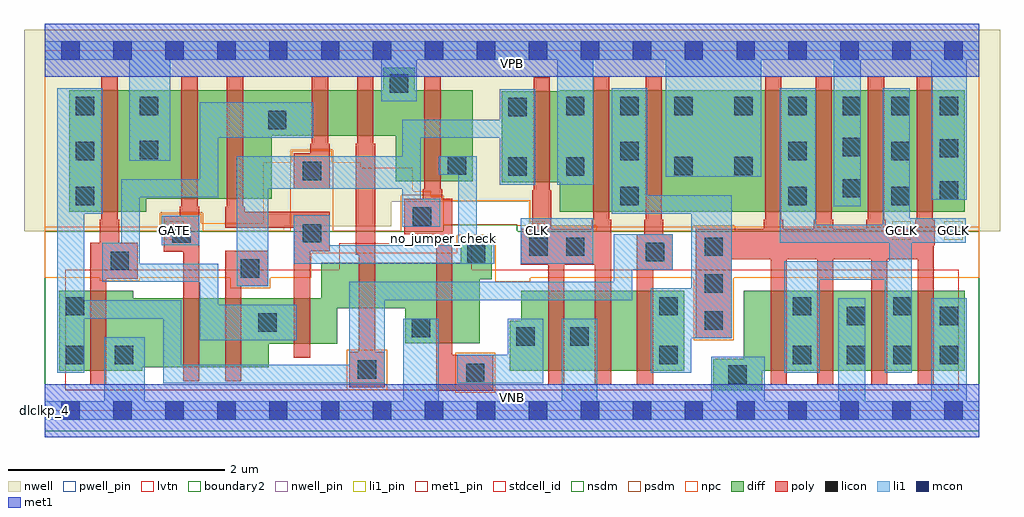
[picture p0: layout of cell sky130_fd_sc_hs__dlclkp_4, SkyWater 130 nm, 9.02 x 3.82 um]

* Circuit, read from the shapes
.subckt sky130_fd_sc_hs__dlclkp_4 CLK GATE GCLK VGND VNB VPB VPWR
XM1 VGND n1 n2 VNB sky130_fd_pr__nfet_01v8_lvt w=0.74 l=0.15
XM2 n3 GATE VGND VNB sky130_fd_pr__nfet_01v8_lvt w=0.64 l=0.15
XM3 n1 n4 n3 VNB sky130_fd_pr__nfet_01v8_lvt w=0.64 l=0.15
XM4 n5 n6 n1 VNB sky130_fd_pr__nfet_01v8_lvt w=0.42 l=0.15
XM5 VGND n2 n5 VNB sky130_fd_pr__nfet_01v8_lvt w=0.42 l=0.15
XM6 n6 n4 VGND VNB sky130_fd_pr__nfet_01v8_lvt w=0.74 l=0.15
XM7 VGND CLK n4 VNB sky130_fd_pr__nfet_01v8_lvt w=0.74 l=0.15
XM8 n7 CLK VGND VNB sky130_fd_pr__nfet_01v8_lvt w=0.74 l=0.15
XM9 n8 n2 n7 VNB sky130_fd_pr__nfet_01v8_lvt w=0.74 l=0.15
XM10 GCLK n8 VGND VNB sky130_fd_pr__nfet_01v8_lvt w=0.74 l=0.15 m=4
XM11 VPWR n1 n2 VPB sky130_fd_pr__pfet_01v8 w=1.12 l=0.15
XM12 n9 GATE VPWR VPB sky130_fd_pr__pfet_01v8 w=1 l=0.15
XM13 n1 n6 n9 VPB sky130_fd_pr__pfet_01v8 w=1 l=0.15
XM14 n10 n4 n1 VPB sky130_fd_pr__pfet_01v8 w=0.42 l=0.15
XM15 VPWR n2 n10 VPB sky130_fd_pr__pfet_01v8 w=0.42 l=0.15
XM16 n6 n4 VPWR VPB sky130_fd_pr__pfet_01v8 w=0.84 l=0.15
XM17 VPWR CLK n4 VPB sky130_fd_pr__pfet_01v8 w=0.84 l=0.15
XM18 n8 CLK VPWR VPB sky130_fd_pr__pfet_01v8 w=1.12 l=0.15
XM19 VPWR n2 n8 VPB sky130_fd_pr__pfet_01v8 w=1.12 l=0.15
XM20 GCLK n8 VPWR VPB sky130_fd_pr__pfet_01v8 w=1.12 l=0.15 m=4
.ends

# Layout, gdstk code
import gdstk
lib = gdstk.Library(unit=1e-6, precision=1e-09)
def R(c, l, rs):  # rectangles x0, y0, x1, y1
    for r in rs: c.add(gdstk.rectangle(r[:2], r[2:], *l))
def A(c, l, x, y, w, h, nx, ny, dx, dy):  # array of equal rectangles
    R(c, l, [(x+i*dx, y+j*dy, x+i*dx+w, y+j*dy+h) for i in range(nx) for j in range(ny)])
def P(c, l, *ps):  # polygons
    for p in ps: c.add(gdstk.Polygon(p, *l))
nwell_pin = (64, 16)
nwell = (64, 20)
diff = (65, 20)
poly = (66, 20)
licon = (66, 44)
li1_pin = (67, 16)
li1 = (67, 20)
mcon = (67, 44)
met1_pin = (68, 16)
met1 = (68, 20)
stdcell_id = (81, 4)
nsdm = (93, 44)
psdm = (94, 20)
npc = (95, 20)
pwell_pin = (122, 16)
lvtn = (125, 44)
boundary2 = (236, 0)

sky130_fd_sc_hs__dlclkp_ = lib.new_cell('sky130_fd_sc_hs__dlclkp_4')
R(sky130_fd_sc_hs__dlclkp_, nwell_pin, [(0,3.085,8.64,3.33)])
P(sky130_fd_sc_hs__dlclkp_, nwell, [(8.83,3.52),(-0.19,3.52),(-0.19,1.66),(2.215,1.66),(2.215,1.705),(3.205,1.705),(3.205,1.93),(4.475,1.93),(4.475,1.66),(8.83,1.66)])
P(sky130_fd_sc_hs__dlclkp_, diff, [(3.955,2.96),(3.42,2.96),(3.42,3.17),(3.13,3.17),(3.13,2.96),(0.23,2.96),(0.23,1.84),(0.94,1.84),(0.94,1.96),(2.1,1.96),(2.1,2.54),(3.245,2.54),(3.245,2.12),(3.955,2.12)],
  [(4.135,1.59),(3.845,1.59),(3.845,1.365),(2.555,1.365),(2.555,1.04),(0.82,1.04),(0.82,1.11),(0.135,1.11),(0.135,0.37),(0.905,0.37),(0.905,0.4),(2.07,0.4),(2.07,0.62),(2.705,0.62),(2.705,0.945),(3.335,0.945),(3.335,0.625),(4.02,0.625),(4.02,1.215),(4.135,1.215)],
  [(5.91,1.11),(4.405,1.11),(4.405,0.83),(4.3,0.83),(4.3,0.37),(5.91,0.37)],
  [(8.505,2.96),(4.76,2.96),(4.76,2.95),(4.225,2.95),(4.225,2.11),(4.76,2.11),(4.76,1.84),(8.505,1.84)],
  [(8.505,1.11),(6.46,1.11),(6.46,0.48),(6.18,0.48),(6.18,0.19),(6.635,0.19),(6.635,0.37),(8.505,0.37)])
P(sky130_fd_sc_hs__dlclkp_, poly, [(2.065,1.48),(1.67,1.48),(1.67,0.27),(1.82,0.27),(1.82,1.15),(2.065,1.15)],
  [(2.635,2.465),(2.62,2.465),(2.62,3.09),(2.47,3.09),(2.47,2.465),(2.455,2.465),(2.455,2.38),(2.305,2.38),(2.305,2.05),(2.635,2.05)],
  [(2.635,1.84),(1.85,1.84),(1.85,1.885),(1.835,1.885),(1.835,3.09),(1.685,3.09),(1.685,1.885),(1.67,1.885),(1.67,1.69),(2.305,1.69),(2.305,0.49),(2.455,0.49),(2.455,1.475),(2.635,1.475)],
  [(3.145,0.545),(3.055,0.545),(3.055,2.465),(3.04,2.465),(3.04,3.09),(2.89,3.09),(2.89,2.465),(2.875,2.465),(2.875,1.44),(2.905,1.44),(2.905,0.545),(2.815,0.545),(2.815,0.215),(3.145,0.215)],
  [(4.145,0.515),(3.77,0.515),(3.77,1.96),(3.675,1.96),(3.675,2.045),(3.66,2.045),(3.66,3.09),(3.51,3.09),(3.51,2.045),(3.495,2.045),(3.495,1.96),(3.325,1.96),(3.325,1.63),(3.62,1.63),(3.62,0.185),(4.145,0.185)],
  [(5.235,1.765),(5.22,1.765),(5.22,3.09),(5.07,3.09),(5.07,1.765),(5.055,1.765),(5.055,1.68),(4.685,1.68),(4.685,2.035),(4.67,2.035),(4.67,3.08),(4.52,3.08),(4.52,2.035),(4.505,2.035),(4.505,1.68),(4.4,1.68),(4.4,1.35),(4.655,1.35),(4.655,0.24),(4.805,0.24),(4.805,1.35),(5.085,1.35),(5.085,0.24),(5.235,0.24)],
  [(5.805,1.63),(5.72,1.63),(5.72,1.765),(5.705,1.765),(5.705,3.09),(5.555,3.09),(5.555,1.765),(5.54,1.765),(5.54,1.63),(5.475,1.63),(5.475,0.24),(5.625,0.24),(5.625,1.3),(5.805,1.3)],
  [(8.225,1.765),(8.21,1.765),(8.21,3.09),(8.06,3.09),(8.06,1.765),(8.045,1.765),(8.045,1.68),(7.775,1.68),(7.775,1.765),(7.76,1.765),(7.76,3.09),(7.61,3.09),(7.61,1.765),(7.595,1.765),(7.595,1.68),(7.29,1.68),(7.29,1.765),(7.275,1.765),(7.275,3.09),(7.125,3.09),(7.125,1.765),(7.11,1.765),(7.11,1.68),(6.825,1.68),(6.825,1.765),(6.81,1.765),(6.81,3.09),(6.66,3.09),(6.66,1.765),(6.645,1.765),(6.645,1.68),(6.02,1.68),(6.02,0.67),(6.35,0.67),(6.35,1.4),(6.71,1.4),(6.71,0.24),(6.86,0.24),(6.86,1.4),(7.14,1.4),(7.14,0.24),(7.29,0.24),(7.29,1.4),(7.64,1.4),(7.64,0.24),(7.79,0.24),(7.79,1.4),(8.07,1.4),(8.07,0.24),(8.22,0.24),(8.22,1.53),(8.225,1.53)],
  [(0.86,1.55),(0.69,1.55),(0.69,1.765),(0.675,1.765),(0.675,3.09),(0.525,3.09),(0.525,1.765),(0.51,1.765),(0.51,1.55),(0.42,1.55),(0.42,0.24),(0.57,0.24),(0.57,1.22),(0.86,1.22)],
  [(1.43,1.885),(1.415,1.885),(1.415,3.09),(1.265,3.09),(1.265,1.885),(1.25,1.885),(1.25,1.8),(1.1,1.8),(1.1,1.47),(1.28,1.47),(1.28,0.27),(1.43,0.27)])
A(sky130_fd_sc_hs__dlclkp_, licon, 7.415, 0.43, 0.17, 0.17, 3, 1, 0.43, 0)
A(sky130_fd_sc_hs__dlclkp_, licon, 6.1, 0.75, 0.17, 0.17, 1, 3, 0, 0.34)
A(sky130_fd_sc_hs__dlclkp_, licon, 0.29, 1.9, 0.17, 0.17, 1, 3, 0, 0.415)
A(sky130_fd_sc_hs__dlclkp_, licon, 7.825, 1.9, 0.17, 0.17, 1, 3, 0, 0.415)
A(sky130_fd_sc_hs__dlclkp_, licon, 8.275, 1.95, 0.17, 0.17, 1, 3, 0, 0.39)
A(sky130_fd_sc_hs__dlclkp_, licon, 4.82, 2.73, 0.17, 0.17, 3, 1, 0.5, 0)
A(sky130_fd_sc_hs__dlclkp_, licon, 6.375, 2.73, 0.17, 0.17, 3, 1, 0.5, 0)
R(sky130_fd_sc_hs__dlclkp_, licon, [(6.32,0.25,6.49,0.42), (3.895,0.265,4.065,0.435), (2.895,0.295,3.065,0.465), (0.195,0.43,0.365,0.6), (0.65,0.43,0.82,0.6), (5.68,0.43,5.85,0.6), (6.915,0.43,7.085,0.6), (4.36,0.6,4.53,0.77), (4.86,0.6,5.03,0.77), (3.395,0.68,3.565,0.85), (1.975,0.73,2.145,0.9), (7.415,0.79,7.585,0.96), (8.275,0.79,8.445,0.96), (0.195,0.88,0.365,1.05), (5.68,0.88,5.85,1.05), (6.915,0.88,7.085,1.05), (7.845,0.88,8.015,1.05), (1.815,1.23,1.985,1.4), (0.61,1.3,0.78,1.47), (3.905,1.36,4.075,1.53), (5.555,1.38,5.725,1.55), (4.48,1.43,4.65,1.6), (4.82,1.43,4.99,1.6), (1.18,1.55,1.35,1.72), (2.385,1.555,2.555,1.725), (3.405,1.71,3.575,1.88), (5.32,1.9,5.49,2.07), (6.875,1.9,7.045,2.07), (7.375,1.97,7.545,2.14), (2.385,2.13,2.555,2.3), (4.285,2.17,4.455,2.34), (4.82,2.17,4.99,2.34), (5.82,2.175,5.99,2.345), (6.375,2.175,6.545,2.345), (3.725,2.18,3.895,2.35), (5.32,2.315,5.49,2.485), (6.875,2.315,7.045,2.485), (0.88,2.325,1.05,2.495), (7.375,2.35,7.545,2.52), (2.065,2.6,2.235,2.77), (4.285,2.72,4.455,2.89), (0.88,2.73,1.05,2.9), (3.19,2.94,3.36,3.11)])
A(sky130_fd_sc_hs__dlclkp_, li1_pin, 1.115, 1.58, 0.17, 0.17, 3, 1, 3.36, 0)
R(sky130_fd_sc_hs__dlclkp_, li1_pin, [(8.315,1.58,8.485,1.75)])
R(sky130_fd_sc_hs__dlclkp_, li1, [(4.4,1.36,5.07,1.78), (1.085,1.53,1.43,1.8)])
P(sky130_fd_sc_hs__dlclkp_, li1, [(0.785,2.31),(0.785,3.245),(0,3.245),(0,3.415),(8.64,3.415),(8.64,3.245),(8.525,3.245),(8.525,1.95),(8.195,1.95),(8.195,3.245),(7.545,3.245),(7.545,1.89),(7.295,1.89),(7.295,3.245),(6.625,3.245),(6.625,2.16),(5.74,2.16),(5.74,3.245),(5.07,3.245),(5.07,2.09),(4.74,2.09),(4.74,3.245),(3.44,3.245),(3.44,2.86),(3.11,2.86),(3.11,3.245),(1.16,3.245),(1.16,2.31)],
  [(0.55,0.085),(0.55,0.68),(0.925,0.68),(0.925,0.085),(3.315,0.085),(3.315,0.85),(3.645,0.85),(3.645,0.085),(4.78,0.085),(4.78,0.85),(5.11,0.85),(5.11,0.085),(6.16,0.085),(6.16,0.5),(6.655,0.5),(6.655,0.085),(7.335,0.085),(7.335,1.04),(7.585,1.04),(7.585,0.085),(8.195,0.085),(8.195,1.04),(8.525,1.04),(8.525,0.085),(8.64,0.085),(8.64,-0.085),(0,-0.085),(0,0.085)],
  [(0.88,1.36),(1.605,1.36),(1.605,0.98),(2.33,0.98),(2.33,0.65),(1.435,0.65),(1.435,1.19),(0.535,1.19),(0.535,1.55),(0.71,1.55),(0.71,2.14),(1.435,2.14),(1.435,2.85),(2.485,2.85),(2.485,2.52),(1.605,2.52),(1.605,1.97),(0.88,1.97)],
  [(4.205,2.69),(4.205,2.97),(4.535,2.97),(4.535,2.09),(4.205,2.09),(4.205,2.52),(3.475,2.52),(3.475,1.96),(3.655,1.96),(3.655,1.7),(3.305,1.7),(3.305,2.05),(2.065,2.05),(2.065,1.15),(1.775,1.15),(1.775,2.35),(3.305,2.35),(3.305,2.69)],
  [(0.365,1.02),(1.265,1.02),(1.265,0.425),(2.815,0.425),(2.815,1.19),(5.26,1.19),(5.26,1.63),(5.805,1.63),(5.805,1.3),(5.43,1.3),(5.43,1.02),(3.145,1.02),(3.145,0.255),(1.095,0.255),(1.095,0.85),(0.365,0.85),(0.365,0.35),(0.115,0.35),(0.115,2.98),(0.54,2.98),(0.54,1.82),(0.365,1.82)],
  [(7.745,1.72),(7.745,2.98),(7.995,2.98),(7.995,1.78),(8.515,1.78),(8.515,1.55),(8.015,1.55),(8.015,0.35),(7.765,0.35),(7.765,1.21),(7.165,1.21),(7.165,0.35),(6.835,0.35),(6.835,1.38),(7.805,1.38),(7.805,1.55),(6.795,1.55),(6.795,2.98),(7.125,2.98),(7.125,1.72)],
  [(5.57,1.99),(6.35,1.99),(6.35,0.67),(5.975,0.67),(5.975,0.35),(5.6,0.35),(5.6,1.13),(5.975,1.13),(5.975,1.82),(5.24,1.82),(5.24,2.98),(5.57,2.98)],
  [(2.305,1.36),(2.305,1.805),(2.635,1.805),(2.635,1.53),(3.825,1.53),(3.825,2.18),(3.645,2.18),(3.645,2.35),(3.995,2.35),(3.995,1.61),(4.155,1.61),(4.155,1.36)],
  [(3.815,0.255),(3.815,0.515),(4.28,0.515),(4.28,0.85),(4.61,0.85),(4.61,0.255)])
A(sky130_fd_sc_hs__dlclkp_, mcon, 0.155, -0.085, 0.17, 0.17, 18, 2, 0.48, 3.33)
R(sky130_fd_sc_hs__dlclkp_, met1_pin, [(0,0,8.64,0.245), (0,3.085,8.64,3.33)])
R(sky130_fd_sc_hs__dlclkp_, met1, [(0,-0.245,8.64,0.245), (0,3.085,8.64,3.575)])
R(sky130_fd_sc_hs__dlclkp_, stdcell_id, [(0,0,8.64,3.33)])
P(sky130_fd_sc_hs__dlclkp_, nsdm, [(8.64,1.66),(4.37,1.66),(4.37,1.72),(3.685,1.72),(3.685,1.66),(0,1.66),(0,-0.19),(8.64,-0.19)])
P(sky130_fd_sc_hs__dlclkp_, psdm, [(8.64,3.52),(0,3.52),(0,1.66),(1.07,1.66),(1.07,1.83),(1.46,1.83),(1.46,1.66),(2.275,1.66),(2.275,2.41),(2.665,2.41),(2.665,1.66),(3.295,1.66),(3.295,1.99),(3.685,1.99),(3.685,1.72),(4.37,1.72),(4.37,1.71),(5.1,1.71),(5.1,1.66),(5.99,1.66),(5.99,1.71),(6.38,1.71),(6.38,1.66),(8.64,1.66)])
R(sky130_fd_sc_hs__dlclkp_, npc, [(3.795,0.165,4.165,0.535), (2.795,0.195,3.165,0.565)])
P(sky130_fd_sc_hs__dlclkp_, npc, [(8.64,1.7),(4.62,1.7),(4.62,1.73),(4.49,1.73),(4.49,1.945),(3.675,1.945),(3.675,1.98),(3.57,1.98),(3.57,2.03),(3.405,2.03),(3.405,2.245),(2.92,2.245),(2.92,2.295),(2.655,2.295),(2.655,2.4),(2.285,2.4),(2.285,2.295),(2.02,2.295),(2.02,1.73),(1.45,1.73),(1.45,1.82),(1.08,1.82),(1.08,1.7),(0,1.7),(0,1.23),(0.51,1.23),(0.51,1.2),(0.88,1.2),(0.88,1.23),(1.715,1.23),(1.715,1.13),(2.085,1.13),(2.085,1.23),(2.465,1.23),(2.465,1.455),(3.815,1.455),(3.815,1.62),(4.165,1.62),(4.165,1.19),(4.49,1.19),(4.49,1.23),(6,1.23),(6,0.65),(6.37,0.65),(6.37,1.23),(8.64,1.23)])
R(sky130_fd_sc_hs__dlclkp_, pwell_pin, [(0,0,8.64,0.245)])
P(sky130_fd_sc_hs__dlclkp_, lvtn, [(8.45,1.3),(3.95,1.3),(3.95,1.545),(2.725,1.545),(2.725,1.3),(0.19,1.3),(0.19,0.19),(8.45,0.19)])
R(sky130_fd_sc_hs__dlclkp_, boundary2, [(0,0,8.64,3.33)])
sky130_fd_sc_hs__dlclkp_.add(gdstk.Label('no_jumper_check', (3.69,1.595), layer=83, texttype=44))
sky130_fd_sc_hs__dlclkp_.add(gdstk.Label('dlclkp_4', (0,0), layer=83, texttype=44))
sky130_fd_sc_hs__dlclkp_.add(gdstk.Label('VNB', (4.32,0.123), layer=64, texttype=59))
sky130_fd_sc_hs__dlclkp_.add(gdstk.Label('VPB', (4.32,3.208), layer=64, texttype=5))
sky130_fd_sc_hs__dlclkp_.add(gdstk.Label('VPWR', (4.32,3.208), layer=68, texttype=5))
sky130_fd_sc_hs__dlclkp_.add(gdstk.Label('VGND', (4.32,0.123), layer=68, texttype=5))
sky130_fd_sc_hs__dlclkp_.add(gdstk.Label('GATE', (1.2,1.665), layer=67, texttype=5))
sky130_fd_sc_hs__dlclkp_.add(gdstk.Label('CLK', (4.56,1.665), layer=67, texttype=5))
sky130_fd_sc_hs__dlclkp_.add(gdstk.Label('GCLK', (7.92,1.665), layer=67, texttype=5))
sky130_fd_sc_hs__dlclkp_.add(gdstk.Label('GCLK', (8.4,1.665), layer=67, texttype=5))

lib.write_gds('sky130_fd_sc_hs__dlclkp_4.gds')
